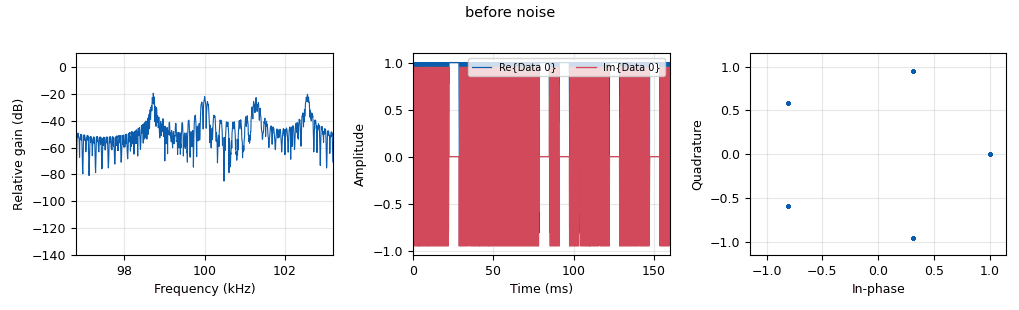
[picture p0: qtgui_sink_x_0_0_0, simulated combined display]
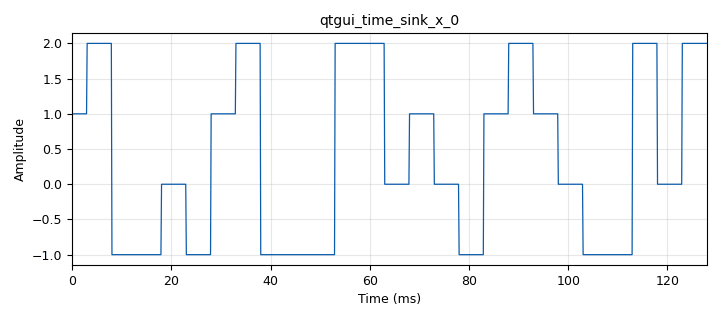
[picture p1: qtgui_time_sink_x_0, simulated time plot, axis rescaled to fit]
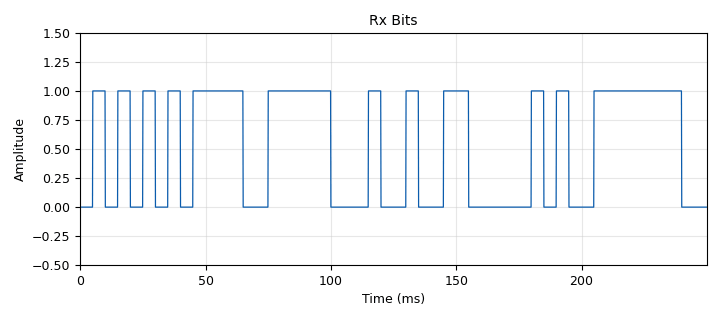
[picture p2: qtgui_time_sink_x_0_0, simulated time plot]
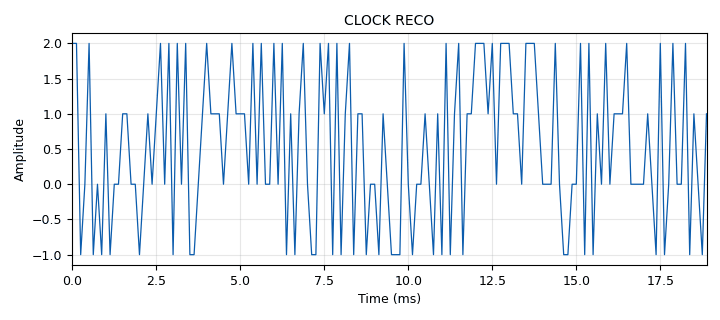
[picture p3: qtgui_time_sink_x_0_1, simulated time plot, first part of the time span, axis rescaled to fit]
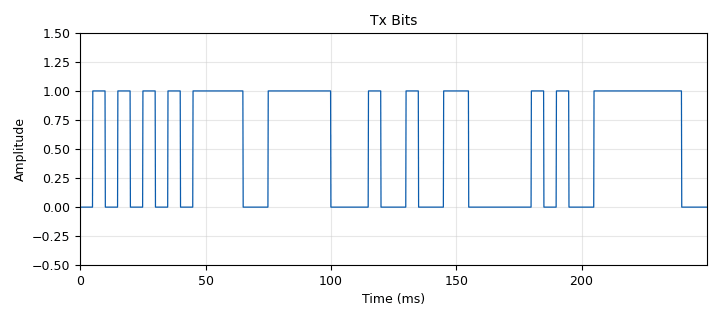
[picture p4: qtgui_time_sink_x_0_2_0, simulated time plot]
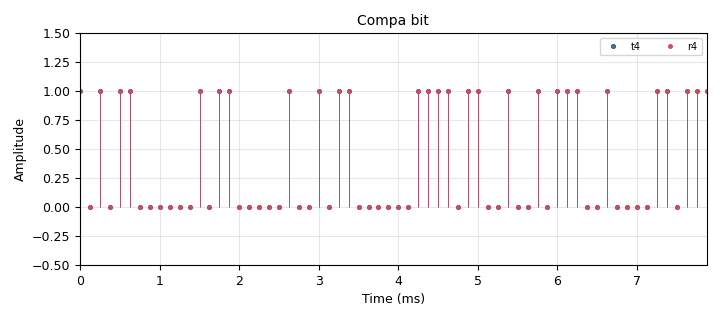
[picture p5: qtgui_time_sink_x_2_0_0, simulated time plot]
options:
  parameters:
    author: clsor
    generate_options: qt_gui
    id: QuatreFSKloopback
    output_language: python
    title: 4FSKloopback
  states: {}

blocks:
- name: M
  id: variable
  parameters:
    value: '4'
  states: {}
- name: Rb
  id: variable
  parameters:
    value: '400'
  states: {}
- name: Rs
  id: variable
  parameters:
    value: Rb/bps
  states: {}
- name: Sps
  id: variable
  parameters:
    value: '40'
  states: {}
- name: bps
  id: variable
  parameters:
    value: int(math.log(M,2))
  states: {}
- name: bw
  id: variable
  parameters:
    value: (2**m)*Rb/m
  states: {}
- name: center_freq
  id: variable
  parameters:
    value: '100000'
  states: {}
- name: eb_n0_dB
  id: variable_qtgui_range
  parameters:
    gui_hint: 2,0,1,1
    label: Eb/N0
    start: '-5'
    step: 1/100
    stop: '15'
    value: '15'
  states: {}
- name: fsk_deviation
  id: variable
  parameters:
    value: bw*2
  states: {}
- name: m
  id: variable
  parameters:
    value: '2'
  states: {}
- name: ndisp
  id: variable
  parameters:
    value: '2000'
  states: {}
- name: noise_power
  id: variable
  parameters:
    value: ((sig_power*bw)/Rb)*10**(-eb_n0_dB/10)
  states: {}
- name: noise_power_0
  id: variable
  parameters:
    value: '0'
  states: {}
- name: num_samples
  id: variable
  parameters:
    value: '10000'
  states: {}
- name: packet_len
  id: variable
  parameters:
    value: '240'
  states: {}
- name: samp_rate
  id: variable
  parameters:
    value: (Sps*Rb)/bps
  states: {}
- name: sig_power
  id: variable
  parameters:
    value: '1'
  states: {}
- name: analog_frequency_modulator_fc_0
  id: analog_frequency_modulator_fc
  parameters:
    sensitivity: (2*math.pi*fsk_deviation)/samp_rate
  states: {}
- name: analog_noise_source_x_0_0
  id: analog_noise_source_x
  parameters:
    amp: math.sqrt(2*noise_power_0)
    noise_type: analog.GR_GAUSSIAN
    seed: '0'
    type: complex
  states: {}
- name: analog_quadrature_demod_cf_0_0
  id: analog_quadrature_demod_cf
  parameters:
    gain: samp_rate/(2*math.pi*fsk_deviation)
  states: {}
- name: analog_random_source_x_0
  id: analog_random_source_x
  parameters:
    comment: Bits Generation
    max: '2'
    min: '0'
    num_samps: num_samples
    repeat: 'False'
    type: byte
  states: {}
- name: blocks_add_const_vxx_0
  id: blocks_add_const_vxx
  parameters:
    const: '-3'
    type: float
  states: {state: bypassed}
- name: blocks_add_const_vxx_0_1
  id: blocks_add_const_vxx
  parameters:
    const: '1'
    type: float
  states: {}
- name: blocks_add_const_vxx_0_1_0
  id: blocks_add_const_vxx
  parameters:
    const: '1'
    type: float
  states: {}
- name: blocks_add_xx_1_0
  id: blocks_add_xx
  parameters:
    type: complex
  states: {}
- name: blocks_char_to_float_0_0_1_0
  id: blocks_char_to_float
  parameters:
    scale: '1'
  states: {}
- name: blocks_char_to_float_0_1_0
  id: blocks_char_to_float
  parameters:
    scale: '1'
  states: {}
- name: blocks_char_to_float_0_1_0_0
  id: blocks_char_to_float
  parameters:
    scale: '1'
  states: {}
- name: blocks_char_to_float_0_1_0_1
  id: blocks_char_to_float
  parameters:
    scale: '1'
  states: {state: disabled}
- name: blocks_char_to_float_0_1_0_2
  id: blocks_char_to_float
  parameters:
    scale: '1'
  states: {}
- name: blocks_char_to_float_0_2_0
  id: blocks_char_to_float
  parameters:
    scale: '1'
  states: {}
- name: blocks_char_to_float_0_2_0_0
  id: blocks_char_to_float
  parameters:
    scale: '1'
  states: {}
- name: blocks_delay_1_0_0_0_0
  id: blocks_delay
  parameters:
    delay: '0'
    type: byte
  states: {}
- name: blocks_float_to_uchar_0
  id: blocks_float_to_uchar
  parameters:
    bias: '0'
    scale: '1'
    vlen: '1'
  states: {}
- name: blocks_keep_one_in_n_0
  id: blocks_keep_one_in_n
  parameters:
    n: Sps
    type: float
  states: {}
- name: blocks_multiply_const_vxx_0
  id: blocks_multiply_const_vxx
  parameters:
    const: '2'
    type: float
  states: {state: bypassed}
- name: blocks_multiply_const_vxx_0_1
  id: blocks_multiply_const_vxx
  parameters:
    const: '2'
    type: float
  states: {state: bypassed}
- name: blocks_pack_k_bits_bb_0
  id: blocks_pack_k_bits_bb
  parameters:
    k: '2'
  states: {}
- name: blocks_repack_bits_bb_0
  id: blocks_repack_bits_bb
  parameters:
    endianness: gr.GR_LSB_FIRST
    k: '8'
    l: '2'
  states: {state: bypassed}
- name: blocks_repack_bits_bb_1
  id: blocks_repack_bits_bb
  parameters:
    endianness: gr.GR_LSB_FIRST
    k: '2'
    l: '8'
  states: {state: bypassed}
- name: blocks_repeat_0_0_0
  id: blocks_repeat
  parameters:
    interp: Sps
    type: byte
  states: {}
- name: blocks_repeat_0_0_0_0
  id: blocks_repeat
  parameters:
    interp: Sps
    type: byte
  states: {}
- name: blocks_repeat_1
  id: blocks_repeat
  parameters:
    interp: Sps
    type: float
  states: {}
- name: blocks_skiphead_0_0_0
  id: blocks_skiphead
  parameters:
    num_items: '0'
    type: byte
  states: {}
- name: blocks_skiphead_0_1
  id: blocks_skiphead
  parameters:
    num_items: '0'
    type: byte
  states: {}
- name: blocks_stream_to_tagged_stream_0
  id: blocks_stream_to_tagged_stream
  parameters:
    len_tag_key: '"packet_len"'
    packet_len: packet_len
    type: byte
  states: {}
- name: blocks_throttle2_0_0
  id: blocks_throttle2
  parameters:
    samples_per_second: samp_rate
    type: complex
  states: {}
- name: blocks_unpack_k_bits_bb_0_0
  id: blocks_unpack_k_bits_bb
  parameters:
    k: '8'
  states: {state: bypassed}
- name: blocks_unpack_k_bits_bb_1
  id: blocks_unpack_k_bits_bb
  parameters:
    k: '2'
  states: {}
- name: blocks_vector_source_x_0
  id: blocks_vector_source_x
  parameters:
    repeat: 'False'
    type: byte
    vector: (0,1,1,0,0,1,1,0,0,1,1,0,0,1,1,0,0,1,1,0,0,1,1,0,0,1,1,0,0,1,1,0,0,1,1,0,0,1,1,0,0,1,1,0,0,1,1,0,0,1,1,0,0,1,1,0,0,1,1,0,0,1,1,0,0,1,1,0,0,1,1,0,0,1,1,0,0,1,1,0, 0,1,1,0,0,1,1,0,0,1,1,0,0,1,1,0,0,1,1,0,0,1,1,0,0,1,1,0,0,1,1,0,0,1,1,0,0,1,1,0,0,1,1,0,0,1,1,0,0,1,1,0,0,1,1,0,0,1,1,0,0,1,1,0,0,1,1,0,0,1,1,0,0,1,1,0,0,1,1,0, 1,1,1,1,0,0,0)
  states: {state: disabled}
- name: blocks_vector_to_stream_0
  id: blocks_vector_to_stream
  parameters:
    num_items: '1'
    type: byte
  states: {state: disabled}
- name: digital_chunks_to_symbols_xx_0
  id: digital_chunks_to_symbols_xx
  parameters:
    dimension: '1'
    in_type: byte
    out_type: float
    symbol_table: '[-1, 0, 1, 2]'
  states: {}
- name: digital_clock_recovery_mm_xx_0_0_0
  id: digital_clock_recovery_mm_xx
  parameters:
    gain_mu: '8'
    gain_omega: '0.01'
    mu: '0.5'
    omega: Sps*(1+0.0)
    omega_relative_limit: '0.05'
    type: float
  states: {state: disabled}
- name: digital_protocol_formatter_bb_0
  id: digital_protocol_formatter_bb
  parameters:
    len_tag_key: '"packet_len"'
  states: {state: disabled}
- name: epy_block_0_0
  id: epy_block
  parameters:
    _source_code: |
      import numpy as np
      from gnuradio import gr

      class inversedB(gr.sync_block):  

          def __init__(self, ): 
              gr.sync_block.__init__(
                  self,
                  name='e_inversedB_ff',
                  in_sig=[np.float32],
                  out_sig=[np.float32]
              )

          def work(self, input_items, output_items):
              x=input_items[0]
              y=output_items[0]
              y[:]=np.power(10,x)
              return len(y)
  states: {state: bypassed}
- name: fec_ber_bf_0_0
  id: fec_ber_bf
  parameters:
    test_mode: 'False'
  states: {}
- name: freq_xlating_fir_filter_xxx_0_0
  id: freq_xlating_fir_filter_xxx
  parameters:
    center_freq: center_freq
    decim: '1'
    samp_rate: samp_rate
    taps: firdes.low_pass(1.0,samp_rate,900,300)
    type: ccc
  states: {state: disabled}
- name: import_0
  id: import
  parameters:
    imports: import math
  states: {}
- name: low_pass_filter_0
  id: low_pass_filter
  parameters:
    cutoff_freq: samp_rate/100
    decim: '1'
    gain: '1'
    samp_rate: samp_rate
    type: fir_filter_fff
    width: samp_rate/100
    win: window.WIN_HAMMING
  states: {state: bypassed}
- name: qtgui_number_sink_0
  id: qtgui_number_sink
  parameters:
    graph_type: qtgui.NUM_GRAPH_HORIZ
    name: '''0 1 2 3'''
    type: byte
  states: {state: disabled}
- name: qtgui_number_sink_0_0
  id: qtgui_number_sink
  parameters:
    graph_type: qtgui.NUM_GRAPH_HORIZ
    name: BER between Tx and Rx
    type: float
  states: {}
- name: qtgui_number_sink_0_1
  id: qtgui_number_sink
  parameters:
    graph_type: qtgui.NUM_GRAPH_HORIZ
    name: '"unpack 2 bits"'
    type: byte
  states: {state: disabled}
- name: qtgui_sink_x_0_0_0
  id: qtgui_sink_x
  parameters:
    bw: bw*8
    fc: center_freq
    fftsize: '1024'
    name: '''before noise'''
    showrf: 'True'
    type: complex
  states: {}
- name: qtgui_time_sink_x_0
  id: qtgui_time_sink_x
  parameters:
    size: '1024'
    srate: samp_rate
    type: float
    ymax: '2'
    ymin: '-2'
  states: {}
- name: qtgui_time_sink_x_0_0
  id: qtgui_time_sink_x
  parameters:
    grid: 'True'
    legend: 'False'
    name: Rx Bits
    size: ndisp
    srate: samp_rate
    type: float
    ymax: '1.5'
    ymin: '-0.5'
  states: {}
- name: qtgui_time_sink_x_0_1
  id: qtgui_time_sink_x
  parameters:
    name: CLOCK RECO
    size: '1024'
    srate: samp_rate
    type: float
  states: {}
- name: qtgui_time_sink_x_0_1_0
  id: qtgui_time_sink_x
  parameters:
    name: CLOCK RECO
    size: '1024'
    srate: samp_rate
    type: float
    ymax: '4'
  states: {state: disabled}
- name: qtgui_time_sink_x_0_2_0
  id: qtgui_time_sink_x
  parameters:
    grid: 'True'
    legend: 'False'
    name: Tx Bits
    size: ndisp
    srate: samp_rate
    type: float
    ymax: '1.5'
    ymin: '-0.5'
  states: {}
- name: qtgui_time_sink_x_2_0_0
  id: qtgui_time_sink_x
  parameters:
    label1: t4
    label2: r4
    marker1: '0'
    marker2: '0'
    name: Compa bit
    nconnections: '2'
    size: 32*bps
    srate: samp_rate
    stemplot: 'True'
    type: float
    width1: '3'
    width2: '3'
    ymax: '1.5'
    ymin: '-0.5'
  states: {}
- name: qtgui_time_sink_x_2_0_0_0
  id: qtgui_time_sink_x
  parameters:
    label1: t4
    marker1: '0'
    name: unpack 2
    size: 32*bps
    srate: samp_rate
    stemplot: 'True'
    type: float
    width1: '3'
    ymax: '1.5'
    ymin: '-0.5'
  states: {}
- name: qtgui_time_sink_x_2_0_0_1
  id: qtgui_time_sink_x
  parameters:
    label1: t4
    marker1: '0'
    name: apres repack
    size: 32*bps
    srate: samp_rate
    stemplot: 'True'
    type: float
    width1: '3'
    ymax: '1.5'
    ymin: '-0.5'
  states: {state: disabled}
- name: qtgui_time_sink_x_2_0_0_2
  id: qtgui_time_sink_x
  parameters:
    label1: t4
    marker1: '0'
    name: float to char 0 1 2 3
    size: 32*bps
    srate: samp_rate
    stemplot: 'True'
    type: float
    width1: '3'
    ymax: '3'
    ymin: '-0'
  states: {}
- name: qtgui_time_sink_x_2_0_0_2_0
  id: qtgui_time_sink_x
  parameters:
    label1: t4
    marker1: '0'
    name: TX float to char 0 1 2 3
    size: 32*bps
    srate: samp_rate
    stemplot: 'True'
    type: float
    width1: '3'
    ymax: '3'
    ymin: '-0'
  states: {}
- name: virtual_sink_0_0_0_1_0
  id: virtual_sink
  parameters:
    stream_id: t
  states: {}
- name: virtual_sink_0_0_0_1_0_0
  id: virtual_sink
  parameters:
    stream_id: r
  states: {}
- name: virtual_source_0_0_0_0_0_0_0_0
  id: virtual_source
  parameters:
    stream_id: r
  states: {}
- name: virtual_source_0_0_0_0_1_0
  id: virtual_source
  parameters:
    stream_id: t
  states: {}

connections:
- [analog_frequency_modulator_fc_0, '0', blocks_throttle2_0_0, '0']
- [analog_noise_source_x_0_0, '0', blocks_add_xx_1_0, '0']
- [analog_quadrature_demod_cf_0_0, '0', low_pass_filter_0, '0']
- [analog_quadrature_demod_cf_0_0, '0', qtgui_time_sink_x_0, '0']
- [analog_random_source_x_0, '0', blocks_repeat_0_0_0_0, '0']
- [analog_random_source_x_0, '0', blocks_stream_to_tagged_stream_0, '0']
- [analog_random_source_x_0, '0', virtual_sink_0_0_0_1_0, '0']
- [blocks_add_const_vxx_0, '0', analog_frequency_modulator_fc_0, '0']
- [blocks_add_const_vxx_0_1, '0', blocks_float_to_uchar_0, '0']
- [blocks_add_const_vxx_0_1, '0', qtgui_time_sink_x_0_1_0, '0']
- [blocks_add_const_vxx_0_1_0, '0', qtgui_time_sink_x_2_0_0_2_0, '0']
- [blocks_add_xx_1_0, '0', analog_quadrature_demod_cf_0_0, '0']
- [blocks_char_to_float_0_0_1_0, '0', qtgui_time_sink_x_2_0_0, '1']
- [blocks_char_to_float_0_1_0, '0', qtgui_time_sink_x_2_0_0, '0']
- [blocks_char_to_float_0_1_0_0, '0', qtgui_time_sink_x_2_0_0_0, '0']
- [blocks_char_to_float_0_1_0_1, '0', qtgui_time_sink_x_2_0_0_1, '0']
- [blocks_char_to_float_0_1_0_2, '0', qtgui_time_sink_x_2_0_0_2, '0']
- [blocks_char_to_float_0_2_0, '0', qtgui_time_sink_x_0_0, '0']
- [blocks_char_to_float_0_2_0_0, '0', qtgui_time_sink_x_0_2_0, '0']
- [blocks_delay_1_0_0_0_0, '0', blocks_skiphead_0_1, '0']
- [blocks_float_to_uchar_0, '0', blocks_char_to_float_0_1_0_2, '0']
- [blocks_float_to_uchar_0, '0', blocks_unpack_k_bits_bb_1, '0']
- [blocks_float_to_uchar_0, '0', qtgui_number_sink_0, '0']
- [blocks_keep_one_in_n_0, '0', blocks_multiply_const_vxx_0_1, '0']
- [blocks_keep_one_in_n_0, '0', qtgui_time_sink_x_0_1, '0']
- [blocks_multiply_const_vxx_0, '0', blocks_add_const_vxx_0, '0']
- [blocks_multiply_const_vxx_0_1, '0', blocks_add_const_vxx_0_1, '0']
- [blocks_pack_k_bits_bb_0, '0', blocks_repack_bits_bb_0, '0']
- [blocks_repack_bits_bb_0, '0', digital_chunks_to_symbols_xx_0, '0']
- [blocks_repack_bits_bb_1, '0', blocks_char_to_float_0_1_0_1, '0']
- [blocks_repack_bits_bb_1, '0', blocks_unpack_k_bits_bb_0_0, '0']
- [blocks_repeat_0_0_0, '0', blocks_char_to_float_0_2_0, '0']
- [blocks_repeat_0_0_0_0, '0', blocks_char_to_float_0_2_0_0, '0']
- [blocks_repeat_1, '0', blocks_multiply_const_vxx_0, '0']
- [blocks_skiphead_0_0_0, '0', blocks_char_to_float_0_0_1_0, '0']
- [blocks_skiphead_0_0_0, '0', fec_ber_bf_0_0, '1']
- [blocks_skiphead_0_1, '0', blocks_char_to_float_0_1_0, '0']
- [blocks_skiphead_0_1, '0', fec_ber_bf_0_0, '0']
- [blocks_stream_to_tagged_stream_0, '0', blocks_pack_k_bits_bb_0, '0']
- [blocks_throttle2_0_0, '0', blocks_add_xx_1_0, '1']
- [blocks_throttle2_0_0, '0', qtgui_sink_x_0_0_0, '0']
- [blocks_unpack_k_bits_bb_0_0, '0', blocks_repeat_0_0_0, '0']
- [blocks_unpack_k_bits_bb_0_0, '0', virtual_sink_0_0_0_1_0_0, '0']
- [blocks_unpack_k_bits_bb_1, '0', blocks_char_to_float_0_1_0_0, '0']
- [blocks_unpack_k_bits_bb_1, '0', blocks_repack_bits_bb_1, '0']
- [blocks_unpack_k_bits_bb_1, '0', qtgui_number_sink_0_1, '0']
- [blocks_vector_source_x_0, '0', blocks_repeat_0_0_0_0, '0']
- [blocks_vector_source_x_0, '0', blocks_vector_to_stream_0, '0']
- [blocks_vector_source_x_0, '0', virtual_sink_0_0_0_1_0, '0']
- [blocks_vector_to_stream_0, '0', blocks_stream_to_tagged_stream_0, '0']
- [digital_chunks_to_symbols_xx_0, '0', blocks_add_const_vxx_0_1_0, '0']
- [digital_chunks_to_symbols_xx_0, '0', blocks_repeat_1, '0']
- [digital_clock_recovery_mm_xx_0_0_0, '0', blocks_multiply_const_vxx_0_1, '0']
- [digital_clock_recovery_mm_xx_0_0_0, '0', qtgui_time_sink_x_0_1, '0']
- [epy_block_0_0, '0', qtgui_number_sink_0_0, '0']
- [fec_ber_bf_0_0, '0', epy_block_0_0, '0']
- [low_pass_filter_0, '0', blocks_keep_one_in_n_0, '0']
- [low_pass_filter_0, '0', digital_clock_recovery_mm_xx_0_0_0, '0']
- [virtual_source_0_0_0_0_0_0_0_0, '0', blocks_skiphead_0_0_0, '0']
- [virtual_source_0_0_0_0_1_0, '0', blocks_delay_1_0_0_0_0, '0']

metadata:
  file_format: 1
  grc_version: 3.10.10.0
